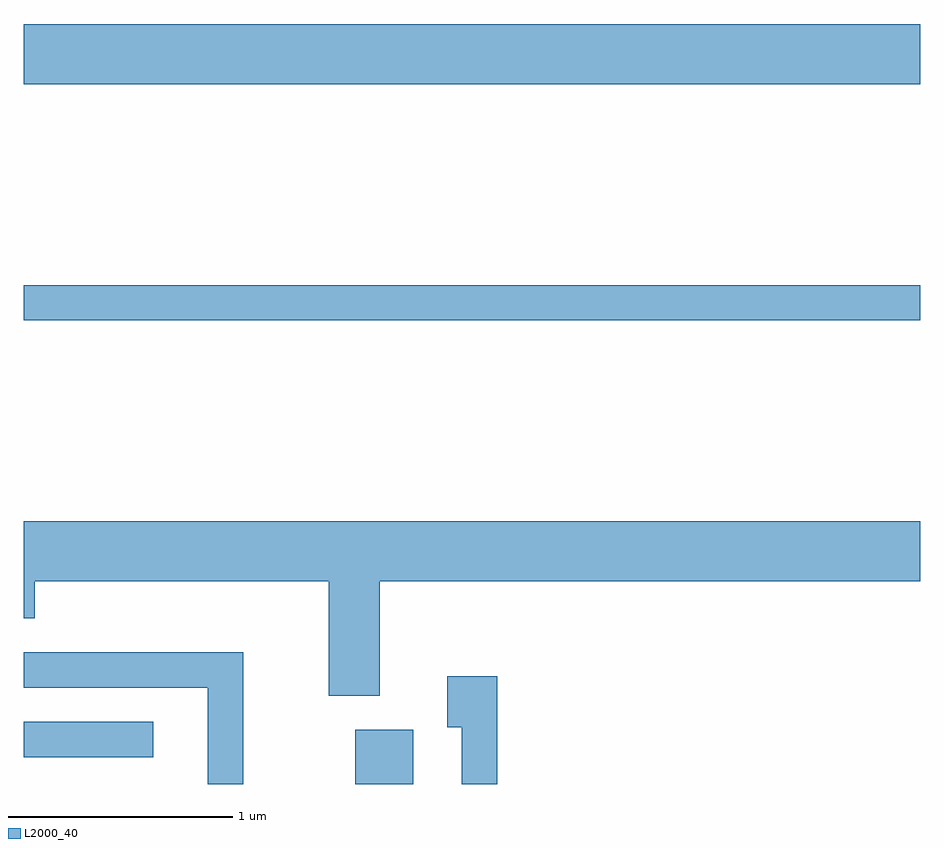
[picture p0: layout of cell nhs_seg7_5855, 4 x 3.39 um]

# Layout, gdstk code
import gdstk
lib = gdstk.Library(unit=1e-6, precision=1e-09)
def R(c, l, rs):  # rectangles x0, y0, x1, y1
    for r in rs: c.add(gdstk.rectangle(r[:2], r[2:], *l))
def P(c, l, *ps):  # polygons
    for p in ps: c.add(gdstk.Polygon(p, *l))
L2000_40 = (2000, 40)

nhs_seg7_5855 = lib.new_cell('nhs_seg7_5855')
R(nhs_seg7_5855, L2000_40, [(365.091,1762.252,365.349,1762.494), (363.611,1762.371,364.188,1762.529), (363.611,1764.321,367.611,1764.479), (363.611,1765.376,367.611,1765.644)])
P(nhs_seg7_5855, L2000_40, [(365.199,1763.156),(367.611,1763.156),(367.611,1763.424),(363.611,1763.424),(363.611,1762.991),(363.659,1762.991),(363.659,1763.156),(364.971,1763.156),(364.971,1762.646),(365.199,1762.646)],
  [(364.589,1762.839),(363.611,1762.839),(363.611,1762.681),(364.431,1762.681),(364.431,1762.252),(364.589,1762.252)],
  [(365.724,1762.734),(365.501,1762.734),(365.501,1762.506),(365.566,1762.506),(365.566,1762.252),(365.724,1762.252)])

lib.write_gds('nhs_seg7_5855.gds')
